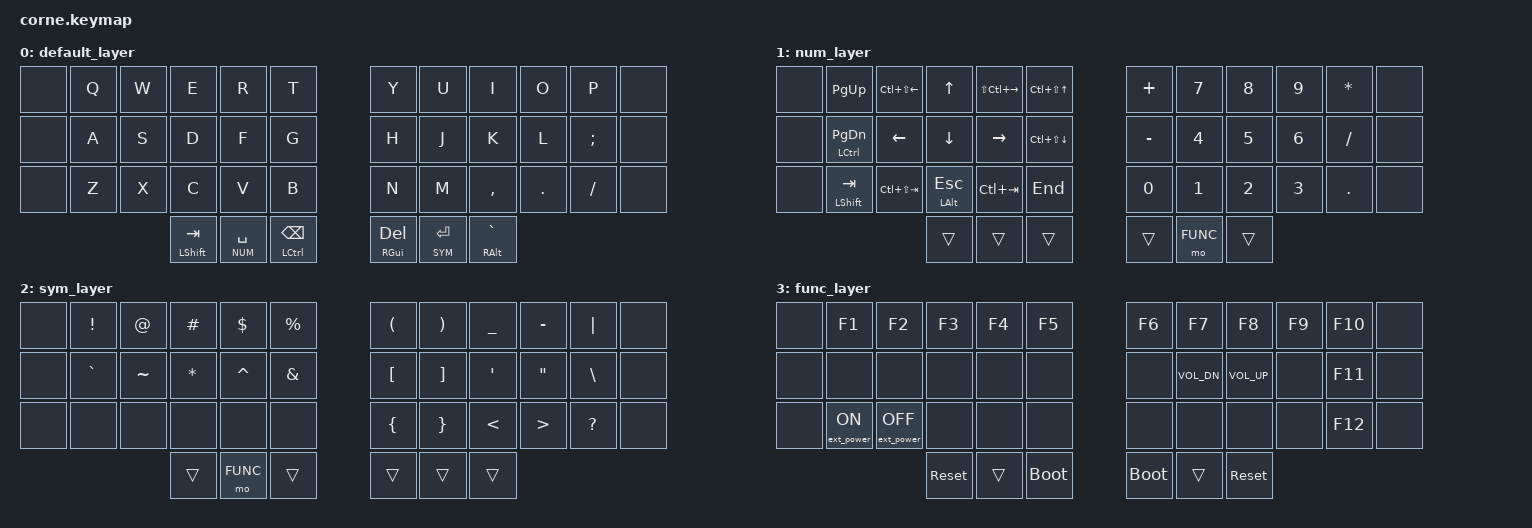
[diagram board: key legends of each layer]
/*
 * Copyright (c) 2020 The ZMK Contributors
 *
 * SPDX-License-Identifier: MIT
 */

#include <behaviors.dtsi>
#include <dt-bindings/zmk/ext_power.h>
#include <dt-bindings/zmk/keys.h>

// LAYERS

#define DEFAULT 0
#define NUM     1
#define SYM     2
#define FUNC    3

// MACROS

#define SUPER LC(LSHIFT)
#define SUPER2 LA(LC(LSHIFT))

&mt {
    tapping-term-ms = <200>;
    flavor = "tap-preferred";
};

/ {
    behaviors {
        hm: homerow_mods {
            compatible = "zmk,behavior-hold-tap";
            label = "HOMEROW_MODS";
            #binding-cells = <2>;
            tapping-term-ms = <200>;
            quick-tap-ms = <0>;
            flavor = "tap-preferred";
            bindings = <&kp>, <&kp>;
        };

        td0: tap_dance_0 {
            compatible = "zmk,behavior-tap-dance";
            label = "TAP_DANCE_0";
            #binding-cells = <0>;
            tapping-term-ms = <200>;
            bindings = <&hm RGUI SEMI>, <&kp SQT>;
        };

        td1: tap_dance_1 {
            compatible = "zmk,behavior-tap-dance";
            label = "TAP_DANCE_1";
            #binding-cells = <0>;
            tapping-term-ms = <200>;
            bindings = <&mt LCTRL TAB>, <&kp ESC>;
        };
    };

    combos {
        compatible = "zmk,combos";

        combo_cword {
            timeout-ms = <50>;
            key-positions = <16 19>;
            bindings = <&caps_word>;
        };

        combo_vimwq {
            timeout-ms = <50>;
            key-positions = <1 2>;
            bindings = <&vim_quit>;
        };
    };

    macros {
        vim_quit: vim_quit {
            label = "ZM_vim_quit";
            compatible = "zmk,behavior-macro";
            #binding-cells = <0>;
            bindings = <&macro_tap>, <&kp ESC &kp COLON &kp W &kp Q>;
        };

        change_lang: change_lang {
            compatible = "zmk,behavior-macro";
            #binding-cells = <0>;
            bindings = <&macro_tap>, <&kp LEFT_WIN &kp SPACE>;

            label = "CHANGE_LANG";
        };
    };

    keymap {
        compatible = "zmk,keymap";

        default_layer {
            bindings = <
&none  &kp Q  &kp W  &kp E               &kp R          &kp T                  &kp Y         &kp U          &kp I           &kp O    &kp P          &none
&none  &kp A  &kp S  &kp D               &kp F          &kp G                  &kp H         &kp J          &kp K           &kp L    &kp SEMICOLON  &none
&none  &kp Z  &kp X  &kp C               &kp V          &kp B                  &kp N         &kp M          &kp COMMA       &kp DOT  &kp FSLH       &none
                     &mt LEFT_SHIFT TAB  &lt NUM SPACE  &mt LCTRL BACKSPACE    &mt RGUI DEL  &lt SYM ENTER  &mt RALT GRAVE
            >;
        };

        num_layer {
            bindings = <
&none  &kp PG_UP            &kp LC(LS(LEFT_ARROW))  &kp UP_ARROW         &kp LS(LC(RIGHT_ARROW))  &kp LC(LS(UP_ARROW))    &kp PLUS   &kp N7    &kp N8  &kp N9  &kp ASTERISK  &none
&none  &mt LCTRL PAGE_DOWN  &kp LEFT_ARROW          &kp DOWN_ARROW       &kp RIGHT                &kp LC(LS(DOWN))        &kp MINUS  &kp N4    &kp N5  &kp N6  &kp SLASH     &none
&none  &mt LEFT_SHIFT TAB   &kp LC(LS(TAB))         &mt LEFT_ALT ESCAPE  &kp LC(TAB)              &kp END                 &kp N0     &kp N1    &kp N2  &kp N3  &kp DOT       &none
                                                    &trans               &trans                   &trans                  &trans     &mo FUNC  &trans
            >;
        };

        sym_layer {
            bindings = <
&none  &kp EXCL   &kp AT     &kp HASH      &kp DLLR   &kp PRCNT    &kp LPAR  &kp RPAR  &kp UNDERSCORE  &kp MINUS          &kp PIPE      &none
&none  &kp GRAVE  &kp TILDE  &kp ASTERISK  &kp CARET  &kp AMPS     &kp LBKT  &kp RBKT  &kp SQT         &kp DOUBLE_QUOTES  &kp BSLH      &none
&none  &none      &none      &none         &none      &none        &kp LBRC  &kp RBRC  &kp LESS_THAN   &kp GT             &kp QUESTION  &none
                             &trans        &mo FUNC   &trans       &trans    &trans    &trans
            >;
        };

        func_layer {
            bindings = <
&none  &kp F1            &kp F2             &kp F3      &kp F4  &kp F5         &kp F6       &kp F7        &kp F8        &kp F9  &kp F10  &none
&none  &none             &none              &none       &none   &none          &none        &kp C_VOL_DN  &kp C_VOL_UP  &none   &kp F11  &none
&none  &ext_power EP_ON  &ext_power EP_OFF  &none       &none   &none          &none        &none         &none         &none   &kp F12  &none
                                            &sys_reset  &trans  &bootloader    &bootloader  &trans        &sys_reset
            >;
        };
    };
};
